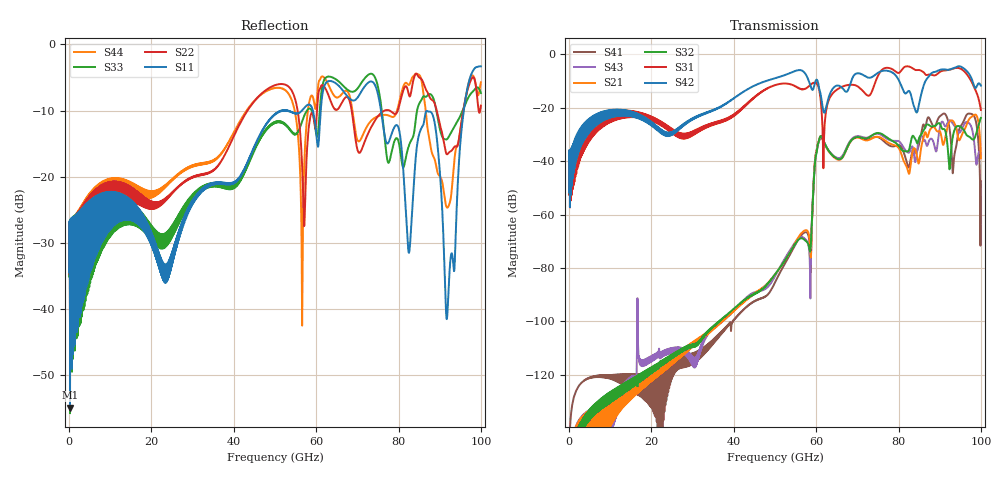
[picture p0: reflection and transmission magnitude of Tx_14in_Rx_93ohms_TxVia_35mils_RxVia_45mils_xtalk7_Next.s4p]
! Info: Touchstone file created by Circ.  Input file=Tx_14in_Rx_93ohms_TxVia_35mils_RxVia_45mils.circ
# Hz S RI R 50
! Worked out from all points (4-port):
!   10000 points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, 10 MHz to 100 GHz, reference 50 ohm
!   strongest paths, dB at 10 MHz, 25.01 GHz, 50.01 GHz, 75.01 GHz, 100 GHz:
!     S42: -51.7, -28.9, -8.9, -6.9, -11.7
!     S31: -52.5, -27.9, -11.5, -8.0, -20.8
!     S32: -180.3, -112.4, -82.4, -29.4, -23.8
!     S21: -175.6, -114.5, -82.5, -30.8, -38.9
!     S43: -175.1, -110.4, -83.1, -29.7, -37.2
!     S41: -162.2, -120.3, -85.4, -31.0, -47.4
!   lowest |S11| = -54.9 dB at 230 MHz (marker M1), VSWR 1.00, Z = 49.8 + j0.00848 ohm
!   |S11| at or under -10 dB: start of sweep to 51.51 GHz; 53.17 GHz to 56.54 GHz (3.375 GHz wide, 6.15 % of centre); 75.74 GHz to 95.85 GHz (20.11 GHz wide, 23.4 % of centre) (the widest 3 of 11)
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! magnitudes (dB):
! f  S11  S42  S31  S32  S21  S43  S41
! 10 MHz  -34.5  -51.7  -52.5  -180.3  -175.6  -175.1  -162.2
! 230 MHz  -54.9  -45.7  -45.7  -157.6  -153.5  -153.2  -140.0
! 50.93 GHz  -10.2  -8.5  -11.1  -80.5  -80.6  -80.4  -82.5
! 60.94 GHz  -11.6  -14.0  -15.2  -30.9  -30.8  -31.1  -31.1
! 73.37 GHz  -5.6  -8.6  -14.4  -30.5  -31.6  -30.5  -31.4
! 91.77 GHz  -41.4  -5.8  -5.9  -32.3  -28.0  -26.1  -23.6
! 100 GHz  -3.3  -11.7  -20.8  -23.8  -38.9  -37.2  -47.4
